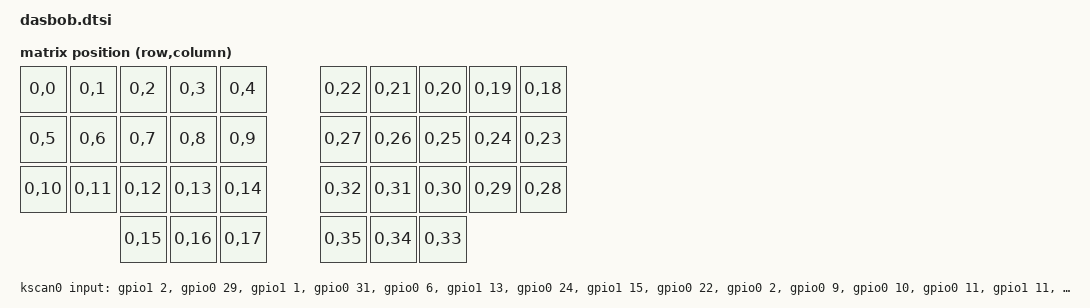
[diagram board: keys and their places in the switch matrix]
#include <dt-bindings/zmk/matrix_transform.h>
#include "dasbob-layouts.dtsi"

// https://zmk.dev/docs/development/hardware-integration/physical-layouts
// put this block where the matrix transform is defined
&physical_layout0 {
	transform = <&default_transform>;
};

/ {
	chosen {
		zmk,kscan = &kscan0;
		zmk,physical-layout = &physical_layout0;
	};

	// https://zmk.dev/docs/development/hardware-integration/new-shield?keyboard-type=split#matrix-transform
	// use single row of 36 columns for compatibility with direct GPIO kscan driver in combination with
	// col-offset = <18> for the right split's overlay
	default_transform: keymap_transform_0 {
		compatible = "zmk,matrix-transform";
		columns = <36>;
		rows = <1>;
		// |  SW1   |  SW2   |  SW3   |  SW4   |  SW5   | |  SW19  |  SW20  |  SW21  |  SW22  |  SW23  |
		// |  SW6   |  SW7   |  SW8   |  SW9   |  SW10  | |  SW24  |  SW25  |  SW26  |  SW27  |  SW28  |
		// |  SW11  |  SW12  |  SW13  |  SW14  |  SW15  | |  SW29  |  SW30  |  SW31  |  SW32  |  SW33  |
		//                   |  SW16  |  SW17  |  SW18  | |  SW34  |  SW35  |  SW36  |
		map = <
			RC(0,0)  RC(0,1)  RC(0,2)  RC(0,3)  RC(0,4)    RC(0,22) RC(0,21) RC(0,20) RC(0,19) RC(0,18)
			RC(0,5)  RC(0,6)  RC(0,7)  RC(0,8)  RC(0,9)    RC(0,27) RC(0,26) RC(0,25) RC(0,24) RC(0,23)
			RC(0,10) RC(0,11) RC(0,12) RC(0,13) RC(0,14)   RC(0,32) RC(0,31) RC(0,30) RC(0,29) RC(0,28)
			                  RC(0,15) RC(0,16) RC(0,17)   RC(0,35) RC(0,34) RC(0,33)
		>;
	};

	// https://zmk.dev/docs/config/kscan#direct-gpio-driver
	// cmp. https://github.com/zmkfirmware/zmk/blob/main/app/boards/shields/a_dux/a_dux.dtsi
	// diodeless design of dasbob allows for direct kscan driver since each key has a dedicated GPIO.
	kscan0: kscan {
		compatible = "zmk,kscan-gpio-direct";
		wakeup-source;

		// https://zmk.dev/docs/config/kscan#devicetree-2
		// https://nicekeyboards.com/docs/nice-nano/pinout-schematic/
		// This list maps the pins of the MCU to the connected switches as routed on the PCB shield:
		//   > A direct pin defined in the input-gpios property is considered a column when used in
		//   > a matrix transform; e.g. the 5th pin on the list can be referred to using RC(0,4).
		// Check shield wiring in kicad against the MCU pinout schematic (watch orientation!) for correct mappings.
		//
		// NOTE: in addition to the pro micro compatible pins (e.g. &gpio029 = &pro_micro 20), the
		// dasbob further needs the additional 3 middle pins of the nice nano to cover all switches.
		input-gpios =
			<&gpio1  2 (GPIO_ACTIVE_LOW | GPIO_PULL_UP)>,
			<&gpio0 29 (GPIO_ACTIVE_LOW | GPIO_PULL_UP)>,
			<&gpio1  1 (GPIO_ACTIVE_LOW | GPIO_PULL_UP)>,
			<&gpio0 31 (GPIO_ACTIVE_LOW | GPIO_PULL_UP)>,
			<&gpio0  6 (GPIO_ACTIVE_LOW | GPIO_PULL_UP)>,

			<&gpio1 13 (GPIO_ACTIVE_LOW | GPIO_PULL_UP)>,
			<&gpio0 24 (GPIO_ACTIVE_LOW | GPIO_PULL_UP)>,
			<&gpio1 15 (GPIO_ACTIVE_LOW | GPIO_PULL_UP)>,
			<&gpio0 22 (GPIO_ACTIVE_LOW | GPIO_PULL_UP)>,
			<&gpio0  2 (GPIO_ACTIVE_LOW | GPIO_PULL_UP)>,

			<&gpio0  9 (GPIO_ACTIVE_LOW | GPIO_PULL_UP)>,
			<&gpio0 10 (GPIO_ACTIVE_LOW | GPIO_PULL_UP)>,
			<&gpio0 11 (GPIO_ACTIVE_LOW | GPIO_PULL_UP)>,
			<&gpio1 11 (GPIO_ACTIVE_LOW | GPIO_PULL_UP)>,
			<&gpio1  0 (GPIO_ACTIVE_LOW | GPIO_PULL_UP)>,

			<&gpio1  7 (GPIO_ACTIVE_LOW | GPIO_PULL_UP)>,
			<&gpio1  6 (GPIO_ACTIVE_LOW | GPIO_PULL_UP)>,
			<&gpio1  4 (GPIO_ACTIVE_LOW | GPIO_PULL_UP)>
		;
	};
};
